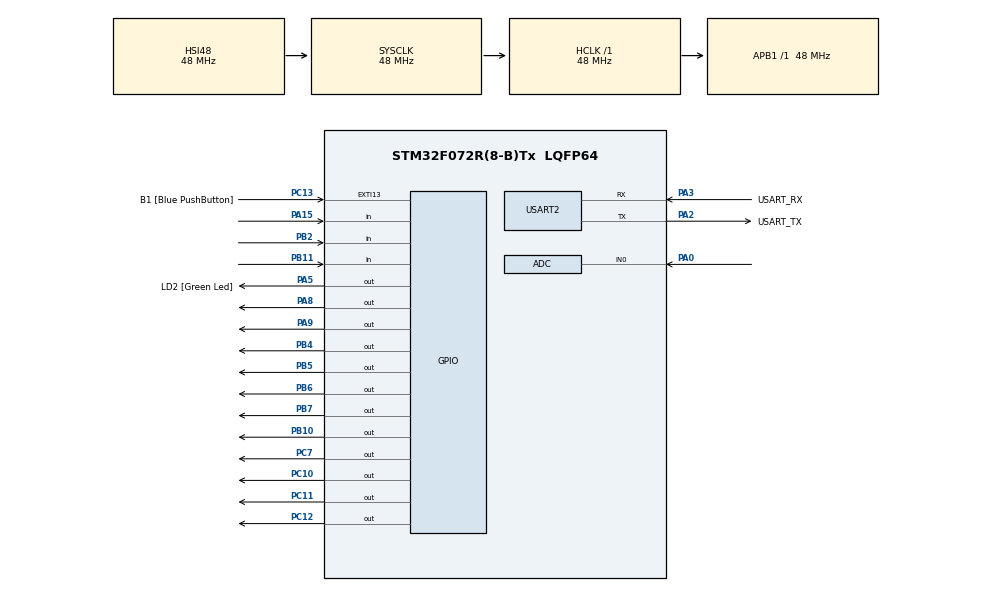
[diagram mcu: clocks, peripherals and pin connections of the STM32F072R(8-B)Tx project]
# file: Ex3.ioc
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Mcu.Family=STM32F0
Mcu.Name=STM32F072R(8-B)Tx
Mcu.Package=LQFP64
PA0.Mode=IN0
PA0.Signal=ADC_IN0
PA13.GPIO_Label=TMS
PA13.Mode=Serial_Wire
PA13.Signal=SYS_SWDIO
PA14.GPIO_Label=TCK
PA14.Mode=Serial_Wire
PA14.Signal=SYS_SWCLK
PA15.GPIO_PuPd=GPIO_PULLUP
PA15.Signal=GPIO_Input
PA2.GPIO_Label=USART_TX
PA2.GPIO_Mode=GPIO_MODE_AF_PP
PA2.GPIO_PuPd=GPIO_NOPULL
PA2.GPIO_Speed=GPIO_SPEED_FREQ_LOW
PA2.Mode=Asynchronous
PA2.Signal=USART2_TX
PA3.GPIO_Label=USART_RX
PA3.GPIO_Mode=GPIO_MODE_AF_PP
PA3.GPIO_PuPd=GPIO_NOPULL
PA3.GPIO_Speed=GPIO_SPEED_FREQ_LOW
PA3.Mode=Asynchronous
PA3.Signal=USART2_RX
PA5.GPIO_Label=LD2 [Green Led]
PA5.GPIO_Mode=GPIO_MODE_OUTPUT_PP
PA5.GPIO_PuPd=GPIO_NOPULL
PA5.GPIO_Speed=GPIO_SPEED_FREQ_LOW
PA5.Signal=GPIO_Output
PA8.Signal=GPIO_Output
PA9.Signal=GPIO_Output
PB10.Signal=GPIO_Output
PB11.GPIO_PuPd=GPIO_PULLUP
PB11.Signal=GPIO_Input
PB2.GPIO_PuPd=GPIO_PULLUP
PB2.Signal=GPIO_Input
PB4.Signal=GPIO_Output
PB5.Signal=GPIO_Output
PB6.Signal=GPIO_Output
PB7.GPIO_ModeDefaultOutputPP=GPIO_MODE_OUTPUT_OD
PB7.Signal=GPIO_Output
PC10.GPIO_ModeDefaultOutputPP=GPIO_MODE_OUTPUT_OD
PC10.Signal=GPIO_Output
PC11.GPIO_ModeDefaultOutputPP=GPIO_MODE_OUTPUT_OD
PC11.Signal=GPIO_Output
PC12.GPIO_ModeDefaultOutputPP=GPIO_MODE_OUTPUT_OD
PC12.Signal=GPIO_Output
PC13.GPIO_Label=B1 [Blue PushButton]
PC13.GPIO_ModeDefaultEXTI=GPIO_MODE_IT_FALLING
PC13.Signal=GPXTI13
PC14-OSC32_IN.Mode=LSE-External-Oscillator
PC14-OSC32_IN.Signal=RCC_OSC32_IN
PC15-OSC32_OUT.Mode=LSE-External-Oscillator
PC15-OSC32_OUT.Signal=RCC_OSC32_OUT
PC7.GPIO_ModeDefaultOutputPP=GPIO_MODE_OUTPUT_PP
PC7.Signal=GPIO_Output
PF0-OSC_IN.Mode=HSE-External-Clock-Source
PF0-OSC_IN.Signal=RCC_OSC_IN
PF1-OSC_OUT.Signal=RCC_OSC_OUT
ProjectManager.HeapSize=0x200
ProjectManager.StackSize=0x400
ProjectManager.TargetToolchain=MDK-ARM V5
RCC.AHBFreq_Value=48000000
RCC.APB1Freq_Value=48000000
RCC.APB1TimFreq_Value=48000000
RCC.FLatency-AdvancedSettings=FLASH_LATENCY_1
RCC.HCLKFreq_Value=48000000
RCC.PLLDivider=RCC_PREDIV_DIV2
RCC.PLLMUL=RCC_PLL_MUL12
RCC.PREFETCH_ENABLE-AdvancedSettings=1
RCC.SYSCLKFreq_VALUE=48000000
RCC.SYSCLKSource=RCC_SYSCLKSOURCE_HSI48
USART2.VirtualMode=VM_ASYNC
USART2.VirtualMode-Asynchronous=VM_ASYNC
board=NUCLEO-F072RB

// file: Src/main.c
/* USER CODE BEGIN Header */
/* USER CODE END Header */

#include "main.h"

ADC_HandleTypeDef hadc;

UART_HandleTypeDef huart2;

void SystemClock_Config(void);
static void MX_GPIO_Init(void);
static void MX_USART2_UART_Init(void);
static void MX_ADC_Init(void);

/* USER CODE BEGIN 0 */

#define pino_rs_0   GPIOA->BSRR = 1<<(16+9)
#define pino_rs_1	GPIOA->BSRR = 1<<9
#define pino_e_0	GPIOC->BSRR = 1<<(16+7)
#define pino_e_1	GPIOC->BSRR = 1<<7

#define cursor_on 	 0x0c
#define cursor_off   0x0e
#define cursor_blink 0x0f

#define liga_led GPIOA->BSRR = (1 << 5);
#define desliga_led GPIOA->BRR = (1 << 5);

void uDelay(void)
{
  int x=10;

  while(x) x--;
}

void delayUs(int tempo)
{
  while(tempo--) uDelay();
}
void lcd_send4bits(unsigned char dat)
{
	if((dat & (1 << 0)) == 0)
		GPIOB->BRR = (1 << 5);
	else
		GPIOB->BSRR = (1 << 5);

	if((dat & (1 << 1)) == 0)
		GPIOB->BRR = (1 << 4);
	else
		GPIOB->BSRR = (1 << 4);

	if((dat & (1 << 2)) == 0)
		GPIOB->BRR = (1 << 10);
	else
		GPIOB->BSRR = (1 << 10);

	if((dat & (1 << 3)) == 0)
		GPIOA->BRR = (1 << 8);
	else
		GPIOA->BSRR = (1 << 8);
}

void lcd_wrcom4(unsigned char com)
{
	lcd_send4bits(com);
	pino_rs_0;
	pino_e_1;
	delayUs(5);
	pino_e_0;
	HAL_Delay(5);
}

void lcd_wrcom(unsigned char com)
{
	lcd_send4bits(com/0x10);
	pino_rs_0;
	pino_e_1;
	delayUs(5);
	pino_e_0;

	lcd_send4bits(com%0x10);
	pino_rs_0;
	pino_e_1;
	delayUs(5);
	pino_e_0;

	HAL_Delay(5);
}

void lcd_wrchar(unsigned char ch)
{
	lcd_send4bits(ch/0x10);
	pino_rs_1;
	pino_e_1;
	delayUs(5);
	pino_e_0;

	lcd_send4bits(ch % 0x10);
	pino_rs_1;
	pino_e_1;
	delayUs(5);
	pino_e_0;

	HAL_Delay(5);
}
void lcd_init(unsigned char cursor)
{
	lcd_wrcom4(3);
  lcd_wrcom4(3);
  lcd_wrcom4(3);
  lcd_wrcom4(2);

  lcd_wrcom(0x28);
  lcd_wrcom(cursor);
  lcd_wrcom(0x06);
  lcd_wrcom(0x01);

}

void lcd_goto(unsigned char x, unsigned char y)
{
  if(x<16)
  {
    if(y==0) lcd_wrcom(0x80+x);
    if(y==1) lcd_wrcom(0xc0+x);
    if(y==2) lcd_wrcom(0x90+x);
    if(y==3) lcd_wrcom(0xd0+x);
  }
}

void lcd_wrstr(char * str)
{
	while((*str))
	{
		lcd_wrchar(*str++);
	}
}

int le_AD(void)
{
	HAL_ADC_Start(&hadc);
	HAL_ADC_PollForConversion(&hadc,50);
	int X = HAL_ADC_GetValue(&hadc);
  HAL_ADC_Stop(&hadc);
	return X;
}
void print_AD(int v)
{
	char str[30];
	sprintf(str,"%04d",v);
	lcd_goto(0,0);
	lcd_wrstr(str);
}
int le_teclas(void) // 0 nada 3 down 4 up 1 select 2 left 5 rigth
{
	// rigth == 0
	// 550 <= up <= 620
	// 1470 <= down <= 1500
	// 2400 <= left <= 2550
	// 3600 <= select <= 3700
	int tecla = 0; // nada

	int v = le_AD();
	//print_AD(v);

	if(v < 400)
		tecla = 5;
	else if(v >= 400 && v < 1200)
		tecla = 4;
	else if(v >= 1200 && v < 2000)
		tecla = 3;
	else if(v >= 2000 && v < 3200)
		tecla = 2;
	else if(v >= 3200 && v < 4000)
		tecla = 1;
	else
		tecla = 0;

	return tecla;
}
int aguarda_tecla(void)
{
	int tecla = 0;

	while(le_teclas()==0)
	{

	}

	tecla = le_teclas();

	while(le_teclas() != 0)
	{

	}

	return tecla;
}
void configura_relogio(int * var, unsigned char x, unsigned char y, int lim)
{
	int tecla = 0;
	char str[30];

	while(tecla != 5)
	{
		lcd_goto(x,y);
		sprintf(str,"%02d",*var);
		lcd_wrstr(str);
		tecla = aguarda_tecla();
		if(tecla == 4)
		{
			(*var)++;
			if(*var == lim)
				(*var) = 0;
		}
		else if(tecla == 3)
		{
			(*var)--;
			if(*var < 0)
				*var = lim-1;
		}
		else if(tecla == 2)
		{
			(*var) = 0;
		}
	}
}

void configura_data(int * var, unsigned char x, unsigned char y, int lim)
{
	int tecla = 0;
	char str[30];

	while(tecla != 5)
	{
		lcd_goto(x,y);
		sprintf(str,"%02d",*var);
		lcd_wrstr(str);
		tecla = aguarda_tecla();
		if(tecla == 4)
		{
			(*var)++;
			if(*var == lim)
				(*var) = 1;
		}
		else if(tecla == 3)
		{
			(*var)--;
			if(*var < 1)
				*var = lim-1;
		}
		else if(tecla == 2)
		{
			(*var) = 1;
		}
	}
}

void configura_ano(int * var)
{
	int tecla = 0;
	char str[30];

	unsigned char pegador = 0;

	while(tecla != 5)
	{
		lcd_goto(12,0);
		sprintf(str,"%04d",*var);
		lcd_wrstr(str);
		tecla = aguarda_tecla();
		if(tecla == 4)
		{
			if(pegador == 1)
			{
				*var = *var + 100;
			}
			else
			{
				(*var)++;
			}
		}
		else if(tecla == 3)
		{
			if(pegador == 1)
			{
				*var -= 100;
			}
			else
			{
				(*var)--;
			}
		}
		else if(tecla == 2)
		{
			(*var) = 2000;
		}
		else if(tecla == 1)
		{
			if(pegador == 0)
				pegador = 1;
			else
				pegador = 0;
		}
	}
}
/* USER CODE END 0 */

int main(void)
{
  /* USER CODE BEGIN 1 */

	int hora, min, seg, h, m, s;

	int dia, mes, ano, d, mm, a;

	int n_dias = 0;

	char str[30];

	d = 1;
	mm = 1;
	a = 2000;

	h = 0;
	m = 0;
	s = 0;

  /* USER CODE END 1 */

  /* MCU Configuration--------------------------------------------------------*/

  /* Reset of all peripherals, Initializes the Flash interface and the Systick. */
  HAL_Init();

  /* Configure the system clock */
  SystemClock_Config();

  /* Initialize all configured peripherals */
  MX_GPIO_Init();
  MX_USART2_UART_Init();
  MX_ADC_Init();
  /* USER CODE BEGIN 2 */
	lcd_init(cursor_blink);
	GPIOB->BSRR = (1 << 6);

	configura_relogio(&h,8,1,24);
	lcd_wrchar(':');
	configura_relogio(&m,11,1,60);
	lcd_wrchar(':');
	configura_relogio(&s,14,1,60);

	configura_data(&d,6,0,32);
	lcd_wrchar('/');
	configura_data(&mm,9,0,13);
	lcd_wrchar('/');
	configura_ano(&a);
	lcd_wrchar('/');

  /* USER CODE END 2 */

  /* Infinite loop */
  /* USER CODE BEGIN WHILE */

  while (1)
  {
		for(ano = a; ano < 9999; ano++)
		{
			for(mes = mm; mes <= 12; mes++)
			{

				if(mes == 1 || mes == 3 || mes == 5 || mes == 7 || mes == 8 || mes == 10 || mes == 12)
				{
					n_dias = 31;
				}
				else if(mes == 2)
				{
					if((ano%400 == 0) || ((ano%4 == 0) && (ano%100 != 0)))
					{
						n_dias = 29;
					}
					else
						n_dias = 28;
				}
				else
					n_dias = 30;

				for(dia = d; dia <= n_dias; dia++)
				{
					for(hora = h; hora < 24; hora++)
					{
						for(min = m; min < 60; min++)
						{
							for(seg = s; seg < 60; seg++)
							{
								lcd_goto(8,1);
								sprintf(str,"%02d:%02d:%02d",hora,min,seg);
								lcd_wrstr(str);

								lcd_goto(6,0);
								sprintf(str,"%02d/%02d/%04d",dia,mes,ano);
								lcd_wrstr(str);

								HAL_Delay(900);
							}s = 0;
						}m = 0;
					}h = 0;
				}d = 1;
			}mm = 1;
		}a = 0;

    /* USER CODE END WHILE */

  }
}

void SystemClock_Config(void)
{
  RCC_OscInitTypeDef RCC_OscInitStruct = {0};
  RCC_ClkInitTypeDef RCC_ClkInitStruct = {0};
  RCC_PeriphCLKInitTypeDef PeriphClkInit = {0};

  /**Initializes the CPU, AHB and APB busses clocks
  */
  RCC_OscInitStruct.OscillatorType = RCC_OSCILLATORTYPE_HSI14|RCC_OSCILLATORTYPE_HSI48;
  RCC_OscInitStruct.HSI48State = RCC_HSI48_ON;
  RCC_OscInitStruct.HSI14State = RCC_HSI14_ON;
  RCC_OscInitStruct.HSI14CalibrationValue = 16;
  RCC_OscInitStruct.PLL.PLLState = RCC_PLL_NONE;
  if (HAL_RCC_OscConfig(&RCC_OscInitStruct) != HAL_OK)
  {
    Error_Handler();
  }
  /**Initializes the CPU, AHB and APB busses clocks
  */
  RCC_ClkInitStruct.ClockType = RCC_CLOCKTYPE_HCLK|RCC_CLOCKTYPE_SYSCLK
                              |RCC_CLOCKTYPE_PCLK1;
  RCC_ClkInitStruct.SYSCLKSource = RCC_SYSCLKSOURCE_HSI48;
  RCC_ClkInitStruct.AHBCLKDivider = RCC_SYSCLK_DIV1;
  RCC_ClkInitStruct.APB1CLKDivider = RCC_HCLK_DIV1;

  if (HAL_RCC_ClockConfig(&RCC_ClkInitStruct, FLASH_LATENCY_1) != HAL_OK)
  {
    Error_Handler();
  }
  PeriphClkInit.PeriphClockSelection = RCC_PERIPHCLK_USART2;
  PeriphClkInit.Usart2ClockSelection = RCC_USART2CLKSOURCE_PCLK1;
  if (HAL_RCCEx_PeriphCLKConfig(&PeriphClkInit) != HAL_OK)
  {
    Error_Handler();
  }
}

static void MX_ADC_Init(void)
{

  ADC_ChannelConfTypeDef sConfig = {0};

  /**Configure the global features of the ADC (Clock, Resolution, Data Alignment and number of conversion)
  */
  hadc.Instance = ADC1;
  hadc.Init.ClockPrescaler = ADC_CLOCK_ASYNC_DIV1;
  hadc.Init.Resolution = ADC_RESOLUTION_12B;
  hadc.Init.DataAlign = ADC_DATAALIGN_RIGHT;
  hadc.Init.ScanConvMode = ADC_SCAN_DIRECTION_FORWARD;
  hadc.Init.EOCSelection = ADC_EOC_SINGLE_CONV;
  hadc.Init.LowPowerAutoWait = DISABLE;
  hadc.Init.LowPowerAutoPowerOff = DISABLE;
  hadc.Init.ContinuousConvMode = DISABLE;
  hadc.Init.DiscontinuousConvMode = DISABLE;
  hadc.Init.ExternalTrigConv = ADC_SOFTWARE_START;
  hadc.Init.ExternalTrigConvEdge = ADC_EXTERNALTRIGCONVEDGE_NONE;
  hadc.Init.DMAContinuousRequests = DISABLE;
  hadc.Init.Overrun = ADC_OVR_DATA_PRESERVED;
  if (HAL_ADC_Init(&hadc) != HAL_OK)
  {
    Error_Handler();
  }
  /**Configure for the selected ADC regular channel to be converted.
  */
  sConfig.Channel = ADC_CHANNEL_0;
  sConfig.Rank = ADC_RANK_CHANNEL_NUMBER;
  sConfig.SamplingTime = ADC_SAMPLETIME_1CYCLE_5;
  if (HAL_ADC_ConfigChannel(&hadc, &sConfig) != HAL_OK)
  {
    Error_Handler();
  }

}

static void MX_USART2_UART_Init(void)
{

  huart2.Instance = USART2;
  huart2.Init.BaudRate = 38400;
  huart2.Init.WordLength = UART_WORDLENGTH_8B;
  huart2.Init.StopBits = UART_STOPBITS_1;
  huart2.Init.Parity = UART_PARITY_NONE;
  huart2.Init.Mode = UART_MODE_TX_RX;
  huart2.Init.HwFlowCtl = UART_HWCONTROL_NONE;
  huart2.Init.OverSampling = UART_OVERSAMPLING_16;
  huart2.Init.OneBitSampling = UART_ONE_BIT_SAMPLE_DISABLE;
  huart2.AdvancedInit.AdvFeatureInit = UART_ADVFEATURE_NO_INIT;
  if (HAL_UART_Init(&huart2) != HAL_OK)
  {
    Error_Handler();
  }

}

static void MX_GPIO_Init(void)
{
  GPIO_InitTypeDef GPIO_InitStruct = {0};

  /* GPIO Ports Clock Enable */
  __HAL_RCC_GPIOC_CLK_ENABLE();
  __HAL_RCC_GPIOF_CLK_ENABLE();
  __HAL_RCC_GPIOA_CLK_ENABLE();
  __HAL_RCC_GPIOB_CLK_ENABLE();

  /*Configure GPIO pin Output Level */
  HAL_GPIO_WritePin(GPIOA, LD2_Pin|GPIO_PIN_8|GPIO_PIN_9, GPIO_PIN_RESET);

  /*Configure GPIO pin Output Level */
  HAL_GPIO_WritePin(GPIOB, GPIO_PIN_10|GPIO_PIN_4|GPIO_PIN_5|GPIO_PIN_6
                          |GPIO_PIN_7, GPIO_PIN_RESET);

  /*Configure GPIO pin Output Level */
  HAL_GPIO_WritePin(GPIOC, GPIO_PIN_7|GPIO_PIN_10|GPIO_PIN_11|GPIO_PIN_12, GPIO_PIN_RESET);

  /*Configure GPIO pin : B1_Pin */
  GPIO_InitStruct.Pin = B1_Pin;
  GPIO_InitStruct.Mode = GPIO_MODE_IT_FALLING;
  GPIO_InitStruct.Pull = GPIO_NOPULL;
  HAL_GPIO_Init(B1_GPIO_Port, &GPIO_InitStruct);

  /*Configure GPIO pins : LD2_Pin PA8 PA9 */
  GPIO_InitStruct.Pin = LD2_Pin|GPIO_PIN_8|GPIO_PIN_9;
  GPIO_InitStruct.Mode = GPIO_MODE_OUTPUT_PP;
  GPIO_InitStruct.Pull = GPIO_NOPULL;
  GPIO_InitStruct.Speed = GPIO_SPEED_FREQ_LOW;
  HAL_GPIO_Init(GPIOA, &GPIO_InitStruct);

  /*Configure GPIO pins : PB2 PB11 */
  GPIO_InitStruct.Pin = GPIO_PIN_2|GPIO_PIN_11;
  GPIO_InitStruct.Mode = GPIO_MODE_INPUT;
  GPIO_InitStruct.Pull = GPIO_PULLUP;
  HAL_GPIO_Init(GPIOB, &GPIO_InitStruct);

  /*Configure GPIO pins : PB10 PB4 PB5 PB6 */
  GPIO_InitStruct.Pin = GPIO_PIN_10|GPIO_PIN_4|GPIO_PIN_5|GPIO_PIN_6;
  GPIO_InitStruct.Mode = GPIO_MODE_OUTPUT_PP;
  GPIO_InitStruct.Pull = GPIO_NOPULL;
  GPIO_InitStruct.Speed = GPIO_SPEED_FREQ_LOW;
  HAL_GPIO_Init(GPIOB, &GPIO_InitStruct);

  /*Configure GPIO pin : PC7 */
  GPIO_InitStruct.Pin = GPIO_PIN_7;
  GPIO_InitStruct.Mode = GPIO_MODE_OUTPUT_PP;
  GPIO_InitStruct.Pull = GPIO_NOPULL;
  GPIO_InitStruct.Speed = GPIO_SPEED_FREQ_LOW;
  HAL_GPIO_Init(GPIOC, &GPIO_InitStruct);

  /*Configure GPIO pin : PA15 */
  GPIO_InitStruct.Pin = GPIO_PIN_15;
  GPIO_InitStruct.Mode = GPIO_MODE_INPUT;
  GPIO_InitStruct.Pull = GPIO_PULLUP;
  HAL_GPIO_Init(GPIOA, &GPIO_InitStruct);

  /*Configure GPIO pins : PC10 PC11 PC12 */
  GPIO_InitStruct.Pin = GPIO_PIN_10|GPIO_PIN_11|GPIO_PIN_12;
  GPIO_InitStruct.Mode = GPIO_MODE_OUTPUT_OD;
  GPIO_InitStruct.Pull = GPIO_NOPULL;
  GPIO_InitStruct.Speed = GPIO_SPEED_FREQ_LOW;
  HAL_GPIO_Init(GPIOC, &GPIO_InitStruct);

  /*Configure GPIO pin : PB7 */
  GPIO_InitStruct.Pin = GPIO_PIN_7;
  GPIO_InitStruct.Mode = GPIO_MODE_OUTPUT_OD;
  GPIO_InitStruct.Pull = GPIO_NOPULL;
  GPIO_InitStruct.Speed = GPIO_SPEED_FREQ_LOW;
  HAL_GPIO_Init(GPIOB, &GPIO_InitStruct);

}

void Error_Handler(void)
{
}

/************************ (C) COPYRIGHT STMicroelectronics *****END OF FILE****/
